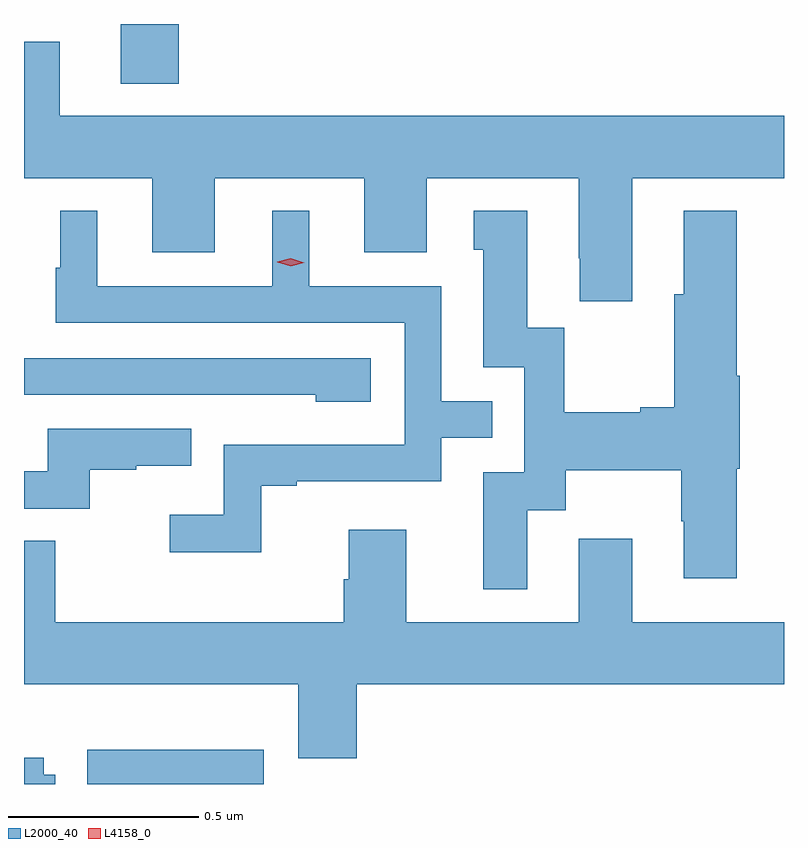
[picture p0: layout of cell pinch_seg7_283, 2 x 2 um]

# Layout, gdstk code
import gdstk
lib = gdstk.Library(unit=1e-6, precision=1e-09)
def R(c, l, rs):  # rectangles x0, y0, x1, y1
    for r in rs: c.add(gdstk.rectangle(r[:2], r[2:], *l))
def P(c, l, *ps):  # polygons
    for p in ps: c.add(gdstk.Polygon(p, *l))
L2000_40 = (2000, 40)
L4158_0 = (4158, 0)

pinch_seg7_283 = lib.new_cell('pinch_seg7_283')
R(pinch_seg7_283, L2000_40, [(733.802,1053.634,734.266,1053.724), (733.889,1055.477,734.042,1055.634)])
P(pinch_seg7_283, L2000_40, [(735.235,1055.228),(735.635,1055.228),(735.635,1055.392),(733.729,1055.392),(733.729,1055.587),(733.635,1055.587),(733.635,1055.228),(733.973,1055.228),(733.973,1055.034),(734.137,1055.034),(734.137,1055.228),(734.531,1055.228),(734.531,1055.034),(734.695,1055.034),(734.695,1055.228),(735.095,1055.228),(735.095,1055.017),(735.098,1055.017),(735.098,1054.905),(735.235,1054.905)],
  [(734.259,1054.419),(734.353,1054.419),(734.353,1054.431),(734.733,1054.431),(734.733,1054.545),(734.867,1054.545),(734.867,1054.641),(734.733,1054.641),(734.733,1054.944),(734.386,1054.944),(734.386,1055.143),(734.288,1055.143),(734.288,1054.944),(733.828,1054.944),(733.828,1055.143),(733.73,1055.143),(733.73,1054.992),(733.719,1054.992),(733.719,1054.848),(734.637,1054.848),(734.637,1054.527),(734.16,1054.527),(734.16,1054.342),(734.019,1054.342),(734.019,1054.244),(734.259,1054.244)],
  [(734.959,1054.354),(735.061,1054.354),(735.061,1054.46),(735.364,1054.46),(735.364,1054.326),(735.371,1054.326),(735.371,1054.176),(735.511,1054.176),(735.511,1054.464),(735.519,1054.464),(735.519,1054.708),(735.511,1054.708),(735.511,1055.143),(735.371,1055.143),(735.371,1054.923),(735.346,1054.923),(735.346,1054.625),(735.257,1054.625),(735.257,1054.612),(735.057,1054.612),(735.057,1054.835),(734.959,1054.835),(734.959,1055.143),(734.819,1055.143),(734.819,1055.04),(734.843,1055.04),(734.843,1054.731),(734.952,1054.731),(734.952,1054.455),(734.843,1054.455),(734.843,1054.146),(734.959,1054.146)],
  [(734.548,1054.755),(733.635,1054.755),(733.635,1054.659),(734.167,1054.659),(734.167,1054.658),(734.403,1054.658),(734.403,1054.64),(734.548,1054.64)],
  [(733.808,1054.461),(733.931,1054.461),(733.931,1054.472),(734.075,1054.472),(734.075,1054.569),(733.698,1054.569),(733.698,1054.457),(733.635,1054.457),(733.635,1054.359),(733.808,1054.359)],
  [(734.51,1053.896),(735.635,1053.896),(735.635,1054.06),(735.235,1054.06),(735.235,1054.279),(735.095,1054.279),(735.095,1054.06),(734.641,1054.06),(734.641,1054.303),(734.489,1054.303),(734.489,1054.173),(734.477,1054.173),(734.477,1054.06),(733.717,1054.06),(733.717,1054.274),(733.635,1054.274),(733.635,1053.896),(734.357,1053.896),(734.357,1053.702),(734.51,1053.702)],
  [(733.717,1053.658),(733.687,1053.658),(733.687,1053.703),(733.635,1053.703),(733.635,1053.634),(733.717,1053.634)])
P(pinch_seg7_283, L4158_0, [(734.337,1054.997),(734.302,1055.007),(734.301,1055.007),(734.302,1055.008),(734.337,1055.017),(734.373,1055.006),(734.373,1055.006),(734.373,1055.006)])

lib.write_gds('pinch_seg7_283.gds')
